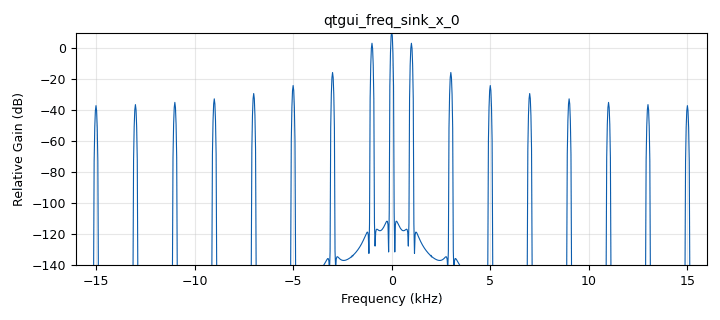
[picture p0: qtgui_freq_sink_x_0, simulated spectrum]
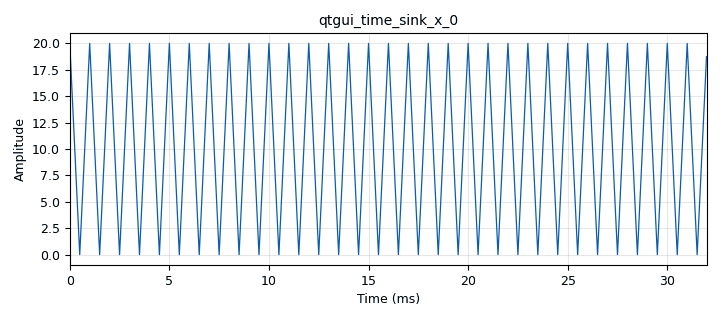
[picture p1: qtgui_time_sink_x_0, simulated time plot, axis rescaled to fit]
options:
  parameters:
    generate_options: qt_gui
    id: parteAlab32
    output_language: python
    title: Not titled yet
  states: {}

blocks:
- name: amplitud
  id: variable_qtgui_range
  parameters:
    label: '"Amp"'
    start: '0'
    step: '1'
    stop: '100'
    value: '20'
  states: {}
- name: samp_rate
  id: variable
  parameters:
    value: '32000'
  states: {}
- name: CalculoPComunicaciones_0
  id: CalculoPComunicaciones
  parameters:
    l_vect: '1024'
  states: {}
- name: analog_sig_source_x_0
  id: analog_sig_source_x
  parameters:
    amp: amplitud
    freq: '1000'
    offset: '0'
    phase: '0'
    samp_rate: samp_rate
    type: float
    waveform: analog.GR_TRI_WAVE
  states: {}
- name: blocks_throttle_0
  id: blocks_throttle
  parameters:
    samples_per_second: samp_rate
    type: float
  states: {}
- name: qtgui_freq_sink_x_0
  id: qtgui_freq_sink_x
  parameters:
    bw: samp_rate
    fc: '0'
    fftsize: '1024'
    type: float
  states: {}
- name: qtgui_time_sink_x_0
  id: qtgui_time_sink_x
  parameters:
    size: '1024'
    srate: samp_rate
    type: float
  states: {}

connections:
- [analog_sig_source_x_0, '0', blocks_throttle_0, '0']
- [blocks_throttle_0, '0', CalculoPComunicaciones_0, '0']
- [blocks_throttle_0, '0', qtgui_freq_sink_x_0, '0']
- [blocks_throttle_0, '0', qtgui_time_sink_x_0, '0']

metadata:
  file_format: 1
  grc_version: 3.10.5.1
